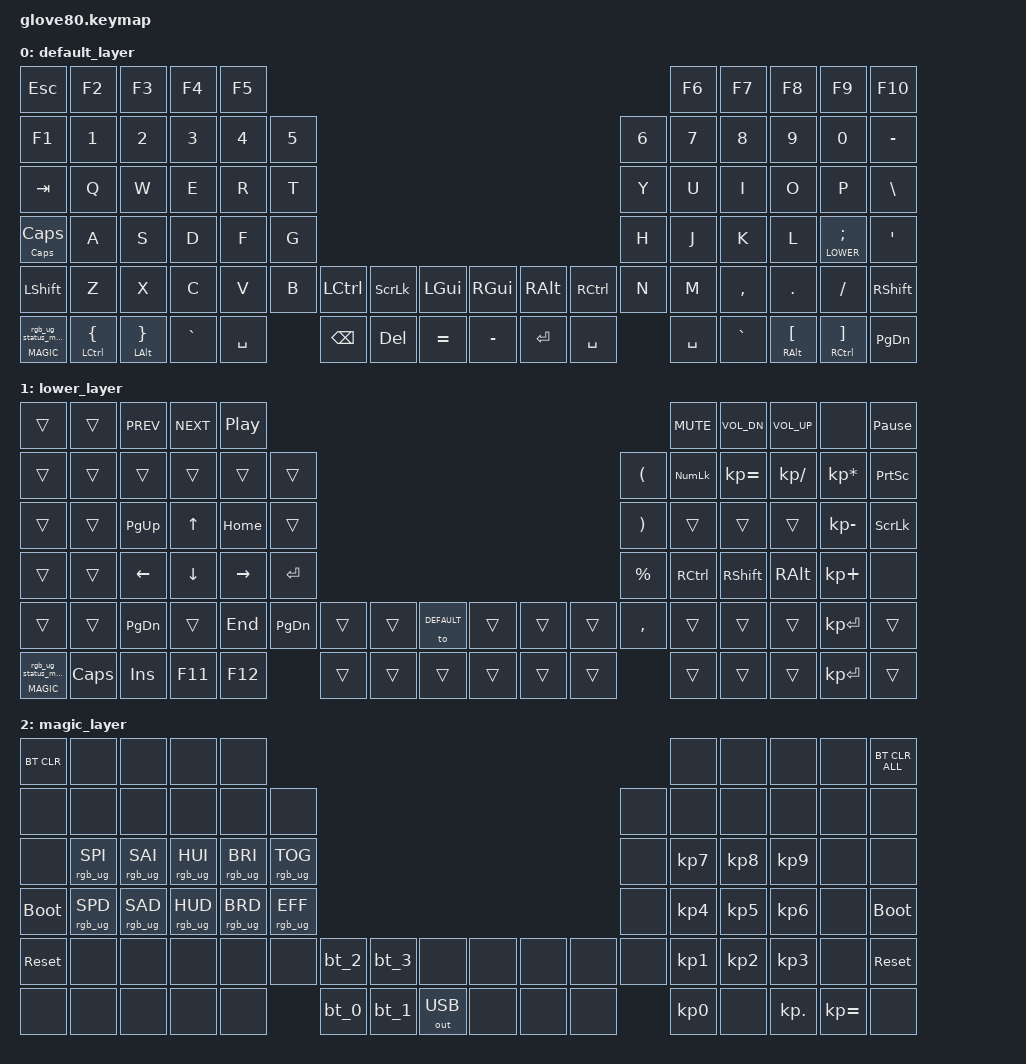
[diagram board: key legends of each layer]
/*
 * Copyright (c) 2020 The ZMK Contributors
 *
 * SPDX-License-Identifier: MIT
 */

#include <behaviors.dtsi>
#include <dt-bindings/zmk/keys.h>
#include <dt-bindings/zmk/bt.h>
#include <dt-bindings/zmk/ext_power.h>
#include <dt-bindings/zmk/outputs.h>
#include <dt-bindings/zmk/rgb.h>

#define HYPER LC(LS(LG(LALT)))

// layers
#define DEFAULT 0
#define LOWER 1
#define MAGIC 2

/ {
    behaviors {
        // For the "layer" key, it'd nice to be able to use it as either a shift or a toggle.
        // Configure it as a tap dance, so the first tap (or hold) is a &mo and the second tap is a &to
        layer_td: tap_dance_0 {
            compatible = "zmk,behavior-tap-dance";
            label = "LAYER_TAP_DANCE";
            #binding-cells = <0>;
            tapping-term-ms = <200>;
            bindings = <&mo LOWER>, <&to LOWER>;
        };

        magic: magic_hold_tap {
            compatible = "zmk,behavior-hold-tap";
            label = "MAGIC_HOLD_TAP";
            #binding-cells = <2>;
            flavor = "tap-preferred";
            tapping-term-ms = <200>;
            bindings = <&mo>, <&rgb_ug_status_macro>;
        };


        combicaps: combicaps {
            compatible = "zmk,behavior-hold-tap";
            label = "COMBICAPS";
            #binding-cells = <2>;
            tapping-term-ms = <250>;
            flavor = "hold-preferred";
            bindings = <&ctrlshft>, <&kp>;
        };
    };

    macros {
        rgb_ug_status_macro: rgb_ug_status_macro_0 {
            label = "RGB_UG_STATUS";
            compatible = "zmk,behavior-macro";
            #binding-cells = <0>;
            bindings
                = <&rgb_ug RGB_STATUS>;
        };

        bt_0: bt_profile_macro_0 {
            label = "BT_0";
            compatible = "zmk,behavior-macro";
            #binding-cells = <0>;
            bindings
                = <&out OUT_BLE>,
                  <&bt BT_SEL 0>;
        };

        bt_1: bt_profile_macro_1 {
            label = "BT_1";
            compatible = "zmk,behavior-macro";
            #binding-cells = <0>;
            bindings
                = <&out OUT_BLE>,
                  <&bt BT_SEL 1>;
        };

        bt_2: bt_profile_macro_2 {
            label = "BT_2";
            compatible = "zmk,behavior-macro";
            #binding-cells = <0>;
            bindings
                = <&out OUT_BLE>,
                  <&bt BT_SEL 2>;
        };

        bt_3: bt_profile_macro_3 {
            label = "BT_3";
            compatible = "zmk,behavior-macro";
            #binding-cells = <0>;
            bindings
                = <&out OUT_BLE>,
                  <&bt BT_SEL 3>;
        };

        ctrlshft: ctrlshft {
            label = "CTRLSHFT_MACRO";
            compatible = "zmk,behavior-macro";
            #binding-cells = <0>;
            bindings =
                <&macro_press &kp LSHFT &kp LCTRL>
              , <&macro_pause_for_release>
              , <&macro_release &kp LSHFT &kp LCTRL>;
        };
    };

    /* Automatically generated keymap */
    keymap {
        compatible = "zmk,keymap";

        default_layer {
            bindings = <
&kp ESC               &kp F2          &kp F3         &kp F4     &kp F5                                                                                                           &kp F6     &kp F7       &kp F8         &kp F9          &kp F10
&kp F1                &kp N1          &kp N2         &kp N3     &kp N4       &kp N5                                                                                   &kp N6     &kp N7     &kp N8       &kp N9         &kp N0          &kp MINUS
&kp TAB               &kp Q           &kp W          &kp E      &kp R        &kp T                                                                                    &kp Y      &kp U      &kp I        &kp O          &kp P           &kp BSLH
&combicaps CAPS CAPS  &kp A           &kp S          &kp D      &kp F        &kp G                                                                                    &kp H      &kp J      &kp K        &kp L          &lt LOWER SEMI  &kp SQT
&kp LSHFT             &kp Z           &kp X          &kp C      &kp V        &kp B          &kp LCTRL  &kp SCROLLLOCK &kp LGUI   &kp RGUI  &kp RALT  &kp RCTRL        &kp N      &kp M      &kp COMMA    &kp DOT        &kp FSLH        &kp RSHFT
&magic MAGIC 0        &mt LCTRL LBRC  &mt LALT RBRC  &kp GRAVE  &kp SPACE                   &kp BSPC   &kp DEL        &kp EQUAL  &kp MINUS &kp RET   &kp SPACE                   &kp SPACE  &kp GRAVE    &mt RALT LBKT  &mt RCTRL RBKT  &kp PG_DN
            >;
        };

        lower_layer {
            bindings = <
     &trans      &trans    &kp C_PREV      &kp C_NEXT      &kp C_PP                                                                                           &kp C_MUTE    &kp C_VOL_DN   &kp C_VOL_UP  &none            &kp PAUSE_BREAK
     &trans      &trans    &trans          &trans          &trans            &trans                                                     &kp LEFT_PARENTHESIS  &kp KP_NUM    &kp KP_EQUAL   &kp KP_SLASH  &kp KP_MULTIPLY  &kp PRINTSCREEN
     &trans      &trans    &kp PG_UP       &kp UP_ARROW    &kp HOME          &trans                                                    &kp RIGHT_PARENTHESIS  &trans        &trans         &trans        &kp KP_MINUS     &kp SCROLLLOCK
     &trans      &trans    &kp LEFT_ARROW  &kp DOWN_ARROW  &kp RIGHT_ARROW   &kp RET                                                             &kp PERCENT  &kp RCTRL     &kp RSHFT      &kp RALT      &kp KP_PLUS      &none
     &trans      &trans    &kp PG_DN       &trans          &kp END           &kp PG_DN  &trans  &trans  &to DEFAULT  &trans  &trans  &trans      &kp COMMA    &trans        &trans         &trans        &kp KP_ENTER     &trans
 &magic MAGIC 0  &kp CAPS  &kp INS         &kp F11         &kp F12                      &trans  &trans  &trans       &trans  &trans  &trans                   &trans        &trans         &trans        &kp KP_ENTER     &trans
            >;
        };

        magic_layer {
            bindings = <
  &bt BT_CLR            &none            &none            &none            &none                                                                                     &none      &none       &none         &none  &bt BT_CLR_ALL
       &none            &none            &none            &none            &none            &none                                                         &none      &none      &none       &none         &none           &none
       &none  &rgb_ug RGB_SPI  &rgb_ug RGB_SAI  &rgb_ug RGB_HUI  &rgb_ug RGB_BRI  &rgb_ug RGB_TOG                                                         &none  &kp KP_N7  &kp KP_N8   &kp KP_N9         &none           &none
 &bootloader  &rgb_ug RGB_SPD  &rgb_ug RGB_SAD  &rgb_ug RGB_HUD  &rgb_ug RGB_BRD  &rgb_ug RGB_EFF                                                         &none  &kp KP_N4  &kp KP_N5   &kp KP_N6         &none     &bootloader
      &sys_reset        &none            &none            &none            &none            &none   &bt_2   &bt_3         &none   &none   &none   &none   &none  &kp KP_N1  &kp KP_N2   &kp KP_N3         &none      &sys_reset
       &none            &none            &none            &none            &none                    &bt_0   &bt_1  &out OUT_USB   &none   &none   &none          &kp KP_N0      &none  &kp KP_DOT  &kp KP_EQUAL           &none
            >;
        };
    };
};
